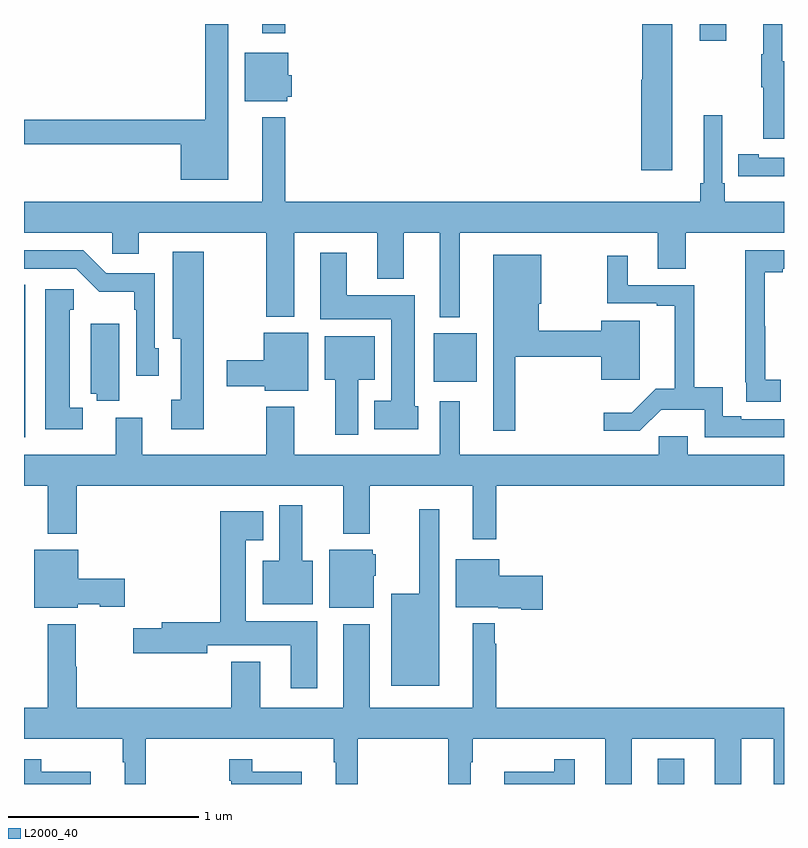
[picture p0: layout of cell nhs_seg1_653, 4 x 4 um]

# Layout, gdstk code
import gdstk
lib = gdstk.Library(unit=1e-6, precision=1e-09)
def R(c, l, rs):  # rectangles x0, y0, x1, y1
    for r in rs: c.add(gdstk.rectangle(r[:2], r[2:], *l))
def P(c, l, *ps):  # polygons
    for p in ps: c.add(gdstk.Polygon(p, *l))
L2000_40 = (2000, 40)

nhs_seg1_653 = lib.new_cell('nhs_seg1_653')
R(nhs_seg1_653, L2000_40, [(150.335,514.199,150.475,514.333), (147,516.024,147.006,516.827), (149.156,516.317,149.383,516.571), (150.557,518.112,150.697,518.199), (148.253,518.151,148.375,518.199)])
P(nhs_seg1_653, L2000_40, [(148.075,518.199),(147.954,518.199),(147.954,517.694),(147,517.694),(147,517.566),(147.824,517.566),(147.824,517.379),(148.075,517.379)],
  [(150.412,518.199),(150.254,518.199),(150.254,517.905),(150.248,517.905),(150.248,517.428),(150.412,517.428)],
  [(151,518.004),(150.992,518.004),(150.992,518.199),(150.89,518.199),(150.89,518.041),(150.879,518.041),(150.879,517.867),(150.89,517.867),(150.89,517.596),(151,517.596)],
  [(148.386,517.815),(148.408,517.815),(148.408,517.929),(148.39,517.929),(148.39,518.047),(148.163,518.047),(148.163,517.793),(148.386,517.793)],
  [(149.293,517.1),(150.335,517.1),(150.335,516.91),(150.483,516.91),(150.483,517.1),(151,517.1),(151,517.264),(150.689,517.264),(150.689,517.36),(150.675,517.36),(150.675,517.72),(150.578,517.72),(150.578,517.36),(150.559,517.36),(150.559,517.264),(148.375,517.264),(148.375,517.708),(148.253,517.708),(148.253,517.264),(147,517.264),(147,517.1),(147.465,517.1),(147.465,516.99),(147.604,516.99),(147.604,517.1),(148.276,517.1),(148.276,516.659),(148.423,516.659),(148.423,517.1),(148.859,517.1),(148.859,516.857),(148.999,516.857),(148.999,517.1),(149.189,517.1),(149.189,516.656),(149.293,516.656)],
  [(151,517.494),(150.868,517.494),(150.868,517.514),(150.76,517.514),(150.76,517.398),(150.868,517.398),(150.868,517.397),(151,517.397)],
  [(150.982,516.326),(150.9,516.326),(150.9,516.609),(150.898,516.609),(150.898,516.892),(150.994,516.892),(150.994,516.912),(151,516.912),(151,517.008),(150.796,517.008),(150.796,516.313),(150.802,516.313),(150.802,516.211),(150.982,516.211)],
  [(147.708,516.492),(147.687,516.492),(147.687,516.888),(147.432,516.888),(147.312,517.008),(147,517.008),(147,516.912),(147.276,516.912),(147.397,516.791),(147.579,516.791),(147.579,516.695),(147.591,516.695),(147.591,516.347),(147.708,516.347)],
  [(147.946,517),(147.782,517),(147.782,516.542),(147.824,516.542),(147.824,516.222),(147.774,516.222),(147.774,516.066),(147.946,516.066)],
  [(149.074,516.186),(149.056,516.186),(149.056,516.772),(148.699,516.772),(148.699,516.996),(148.559,516.996),(148.559,516.644),(148.934,516.644),(148.934,516.217),(148.844,516.217),(148.844,516.065),(149.074,516.065)],
  [(149.585,516.448),(150.038,516.448),(150.038,516.327),(150.241,516.327),(150.241,516.637),(150.038,516.637),(150.038,516.584),(149.71,516.584),(149.71,516.726),(149.722,516.726),(149.722,516.985),(149.471,516.985),(149.471,516.057),(149.585,516.057)],
  [(151,516.12),(150.775,516.12),(150.775,516.134),(150.678,516.134),(150.678,516.287),(150.527,516.287),(150.527,516.825),(150.178,516.825),(150.178,516.979),(150.069,516.979),(150.069,516.729),(150.329,516.729),(150.329,516.717),(150.425,516.717),(150.425,516.28),(150.325,516.28),(150.199,516.154),(150.051,516.154),(150.051,516.057),(150.24,516.057),(150.353,516.17),(150.582,516.17),(150.582,516.024),(151,516.024)],
  [(147.31,516.18),(147.241,516.18),(147.241,516.696),(147.263,516.696),(147.263,516.802),(147.113,516.802),(147.113,516.065),(147.31,516.065)],
  [(147.502,516.621),(147.35,516.621),(147.35,516.254),(147.382,516.254),(147.382,516.217),(147.502,516.217)],
  [(148.495,516.574),(148.262,516.574),(148.262,516.428),(148.068,516.428),(148.068,516.293),(148.266,516.293),(148.266,516.269),(148.495,516.269)],
  [(148.759,516.326),(148.846,516.326),(148.846,516.556),(148.583,516.556),(148.583,516.326),(148.637,516.326),(148.637,516.036),(148.759,516.036)],
  [(149.485,515.768),(151,515.768),(151,515.932),(150.493,515.932),(150.493,516.03),(150.342,516.03),(150.342,515.932),(149.293,515.932),(149.293,516.214),(149.189,516.214),(149.189,515.932),(148.423,515.932),(148.423,516.184),(148.276,516.184),(148.276,515.932),(147.622,515.932),(147.622,516.127),(147.482,516.127),(147.482,515.932),(147,515.932),(147,515.768),(147.125,515.768),(147.125,515.516),(147.278,515.516),(147.278,515.768),(148.679,515.768),(148.679,515.516),(148.819,515.516),(148.819,515.768),(149.363,515.768),(149.363,515.487),(149.485,515.487)],
  [(148.519,515.374),(148.465,515.374),(148.465,515.665),(148.343,515.665),(148.343,515.374),(148.256,515.374),(148.256,515.144),(148.519,515.144)],
  [(149.185,515.644),(149.081,515.644),(149.081,515.2),(148.934,515.2),(148.934,514.715),(149.185,514.715)],
  [(148.543,515.056),(148.168,515.056),(148.168,515.483),(148.258,515.483),(148.258,515.635),(148.034,515.635),(148.034,515.051),(147.725,515.051),(147.725,515.02),(147.576,515.02),(147.576,514.886),(147.964,514.886),(147.964,514.928),(148.403,514.928),(148.403,514.704),(148.543,514.704)],
  [(147.282,515.144),(147.399,515.144),(147.399,515.132),(147.529,515.132),(147.529,515.279),(147.286,515.279),(147.286,515.431),(147.053,515.431),(147.053,515.126),(147.282,515.126)],
  [(148.84,515.295),(148.852,515.295),(148.852,515.409),(148.836,515.409),(148.836,515.431),(148.607,515.431),(148.607,515.126),(148.84,515.126)],
  [(149.731,515.295),(149.5,515.295),(149.5,515.383),(149.273,515.383),(149.273,515.129),(149.496,515.129),(149.496,515.123),(149.618,515.123),(149.618,515.117),(149.731,515.117)],
  [(147.64,514.436),(148.629,514.436),(148.629,514.313),(148.64,514.313),(148.64,514.199),(148.757,514.199),(148.757,514.436),(149.233,514.436),(149.233,514.199),(149.35,514.199),(149.35,514.313),(149.362,514.313),(149.362,514.436),(150.059,514.436),(150.059,514.199),(150.199,514.199),(150.199,514.436),(150.635,514.436),(150.635,514.199),(150.775,514.199),(150.775,514.436),(150.947,514.436),(150.947,514.199),(151,514.199),(151,514.6),(149.485,514.6),(149.485,514.937),(149.477,514.937),(149.477,515.044),(149.363,515.044),(149.363,514.6),(148.819,514.6),(148.819,515.041),(148.679,515.041),(148.679,514.6),(148.243,514.6),(148.243,514.843),(148.091,514.843),(148.091,514.6),(147.278,514.6),(147.278,514.815),(147.273,514.815),(147.273,515.041),(147.125,515.041),(147.125,514.6),(147,514.6),(147,514.436),(147.519,514.436),(147.519,514.313),(147.53,514.313),(147.53,514.199),(147.64,514.199)],
  [(149.899,514.33),(149.79,514.33),(149.79,514.264),(149.528,514.264),(149.528,514.199),(149.899,514.199)],
  [(148.462,514.264),(148.201,514.264),(148.201,514.33),(148.08,514.33),(148.08,514.217),(148.092,514.217),(148.092,514.199),(148.462,514.199)],
  [(147.352,514.264),(147.091,514.264),(147.091,514.33),(147,514.33),(147,514.199),(147.352,514.199)])

lib.write_gds('nhs_seg1_653.gds')
